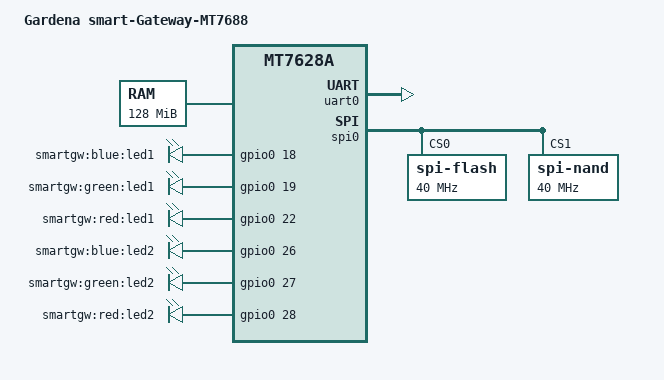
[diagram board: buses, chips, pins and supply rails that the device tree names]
// SPDX-License-Identifier: GPL-2.0
/*
 * Copyright (C) 2018 Stefan Roese <sr@denx.de>
 */

/dts-v1/;

#include "mt7628a.dtsi"
#include <dt-bindings/gpio/gpio.h>

/ {
	compatible = "gardena,smart-gateway-mt7688", "ralink,mt7628a-soc";
	model = "Gardena smart-Gateway-MT7688";

	aliases {
		serial0 = &uart0;
		spi0 = &spi0;
	};

	memory@0 {
		device_type = "memory";
		reg = <0x0 0x08000000>;
	};

	leds {
		compatible = "gpio-leds";

		blue_led1 {
			label = "smartgw:blue:led1";
			gpios = <&gpio0 18 GPIO_ACTIVE_HIGH>;
			default-state = "on";
		};

		green_led1 {
			label = "smartgw:green:led1";
			gpios = <&gpio0 19 GPIO_ACTIVE_HIGH>;
		};

		red_led1 {
			label = "smartgw:red:led1";
			gpios = <&gpio0 22 GPIO_ACTIVE_HIGH>;
		};

		blue_led2 {
			label = "smartgw:blue:led2";
			gpios = <&gpio0 26 GPIO_ACTIVE_HIGH>;
		};

		green_led2 {
			label = "smartgw:green:led2";
			gpios = <&gpio0 27 GPIO_ACTIVE_HIGH>;
		};

		red_led2 {
			label = "smartgw:red:led2";
			gpios = <&gpio0 28 GPIO_ACTIVE_HIGH>;
		};
	};

	chosen {
		bootargs = "console=ttyS0,115200";
		stdout-path = &uart0;
	};
};

&uart0 {
	status = "okay";
	clock-frequency = <40000000>;
};

&spi0 {
	status = "okay";
	num-cs = <2>;

	spi-flash@0 {
		#address-cells = <1>;
		#size-cells = <1>;
		compatible = "spi-flash", "jedec,spi-nor";
		spi-max-frequency = <40000000>;
		reg = <0>;
	};

	spi-nand@1 {
		#address-cells = <1>;
		#size-cells = <1>;
		compatible = "spi-nand";
		spi-max-frequency = <40000000>;
		reg = <1>;
	};
};
